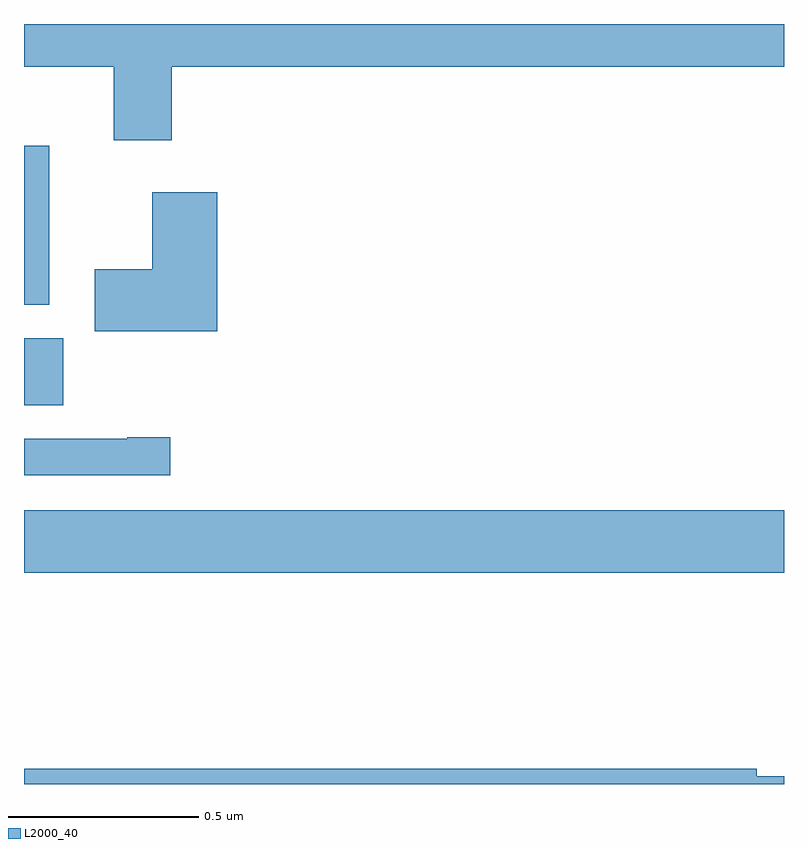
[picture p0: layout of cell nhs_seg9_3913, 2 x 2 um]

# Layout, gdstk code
import gdstk
lib = gdstk.Library(unit=1e-6, precision=1e-09)
def R(c, l, rs):  # rectangles x0, y0, x1, y1
    for r in rs: c.add(gdstk.rectangle(r[:2], r[2:], *l))
def P(c, l, *ps):  # polygons
    for p in ps: c.add(gdstk.Polygon(p, *l))
L2000_40 = (2000, 40)

nhs_seg9_3913 = lib.new_cell('nhs_seg9_3913')
R(nhs_seg9_3913, L2000_40, [(159,1227.056,161,1227.22), (159,1227.497,159.103,1227.673), (159,1227.761,159.067,1228.18)])
P(nhs_seg9_3913, L2000_40, [(159.389,1228.388),(161,1228.388),(161,1228.5),(159,1228.5),(159,1228.388),(159.236,1228.388),(159.236,1228.194),(159.389,1228.194)],
  [(159.508,1228.057),(159.338,1228.057),(159.338,1227.855),(159.186,1227.855),(159.186,1227.692),(159.508,1227.692)],
  [(159.385,1227.413),(159.272,1227.413),(159.272,1227.408),(159,1227.408),(159,1227.312),(159.385,1227.312)],
  [(161,1226.52),(160.928,1226.52),(160.928,1226.54),(159,1226.54),(159,1226.5),(161,1226.5)])

lib.write_gds('nhs_seg9_3913.gds')
